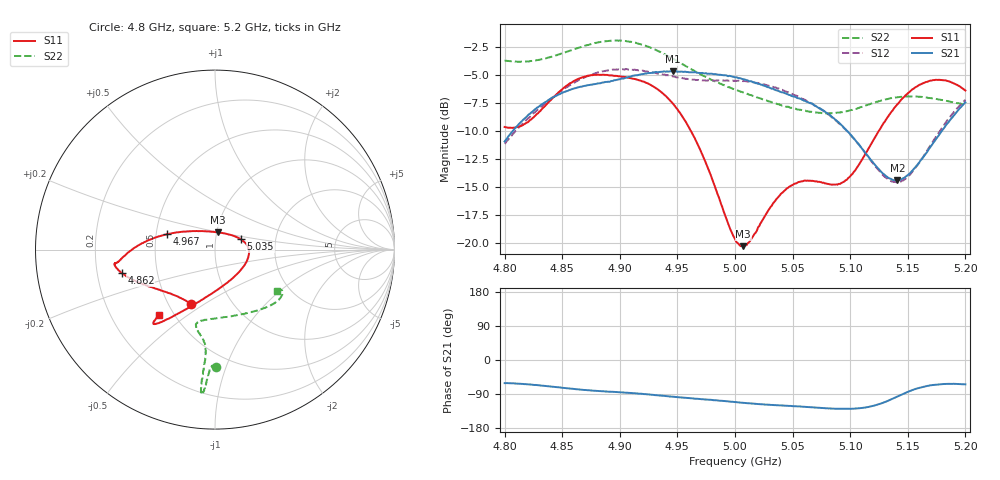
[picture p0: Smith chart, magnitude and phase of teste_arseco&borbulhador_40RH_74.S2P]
! Network Analyzer HP8722D
! Hewlett-Packard
! Data name: Linha & Wilkinson
! Saver's name: Rodrigo Anjos
! Comments: Teste da utilização de aquisição
! continua pelo VNA HP8722D
! Time and date: 15/4/2025 16:58
!  Frequency  S11  S21  S12  S22
# HZ  S  MA R 50
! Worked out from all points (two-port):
!   401 points, 4.8 GHz to 5.2 GHz, reference 50 ohm
!   highest |S21| = -4.64 dB at 4.946 GHz (marker M1); lowest = -14.4 dB at 5.141 GHz (marker M2)
!   |S21| within 3 dB of the highest: 4.832 GHz to 5.068 GHz (236.6 MHz wide, 4.78 % of centre); 5.198024 GHz to end of sweep
!   lowest |S11| = -20.2 dB at 5.007 GHz (marker M3), VSWR 1.22, Z = 50.5 + j9.81 ohm
!   |S11| at or under -10 dB: 4.962 GHz to 5.125 GHz (162.7 MHz wide, 3.23 % of centre)
!   |S22| runs from -8.4 to -1.9 dB; largest |S21 - S12| = 0.88
!   S11 on the Smith chart (normalised r, x): 4.8 GHz: 0.65, -0.44; 4.862 GHz: 0.31, -0.11; 4.967 GHz: 0.57, +0.11; 5.035 GHz: 1.33, +0.16; 5.2 GHz: 0.41, -0.39
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4.8e9  0.3308 -114.1  0.2849 -61.0  0.2783 -175.1  0.6534 -89.7
4.819e9  0.3456 -133.9  0.3673 -64.0  0.3556 -173.6  0.6487 -91.4
4.862e9  0.5364 -166.0  0.494 -77.1  0.5273 -176.7  0.7401 -93.7
4.867e9  0.5498 -167.9  0.5003 -78.5  0.5433 -177.6  0.7545 -93.9
4.9e9  0.5565 -172.3  0.5395 -85.1  0.5968 175.6  0.803 -95.3
4.934e9  0.4822 -178.2  0.5814 -93.7  0.5728 171.8  0.7181 -95.7
4.946e9  0.4207 176.2  0.5864 -96.7  0.5557 172.0  0.6666 -95.5
4.967e9  0.2812 162.2  0.577 -102.3  0.5356 173.9  0.5785 -95.2
5e9  0.1046 105.9  0.5502 -110.9  0.5329 176.2  0.485 -99.3
5.007e9  0.09726 81.8  0.5402 -112.8  0.5293 176.1  0.4718 -101.0
5.014e9  0.1044 59.4  0.5289 -114.7  0.5254 175.8  0.4588 -102.7
5.035e9  0.1551 21.7  0.4836 -119.0  0.4965 175.0  0.4221 -103.9
5.05e9  0.1823 6.0  0.4534 -121.8  0.4634 174.4  0.4025 -100.3
5.067e9  0.1904 -12.2  0.4197 -124.7  0.4208 173.7  0.386 -91.6
5.087e9  0.1831 -44.8  0.3563 -128.7  0.356 173.6  0.3824 -76.7
5.097e9  0.192 -65.9  0.3186 -129.1  0.3178 174.5  0.3887 -68.3
5.134e9  0.3754 -116.6  0.195 -106.0  0.1915 -158.9  0.443 -43.4
5.141e9  0.4177 -120.5  0.1911 -96.3  0.1875 -147.9  0.4489 -40.3
5.153e9  0.4821 -125.3  0.209 -80.4  0.2058 -129.5  0.4523 -36.0
5.17e9  0.5322 -128.9  0.2708 -66.7  0.2751 -112.9  0.4449 -32.2
5.184e9  0.5311 -130.2  0.3415 -63.2  0.3526 -107.2  0.4319 -31.2
5.2e9  0.481 -130.6  0.4259 -64.3  0.4373 -106.3  0.4158 -33.6
